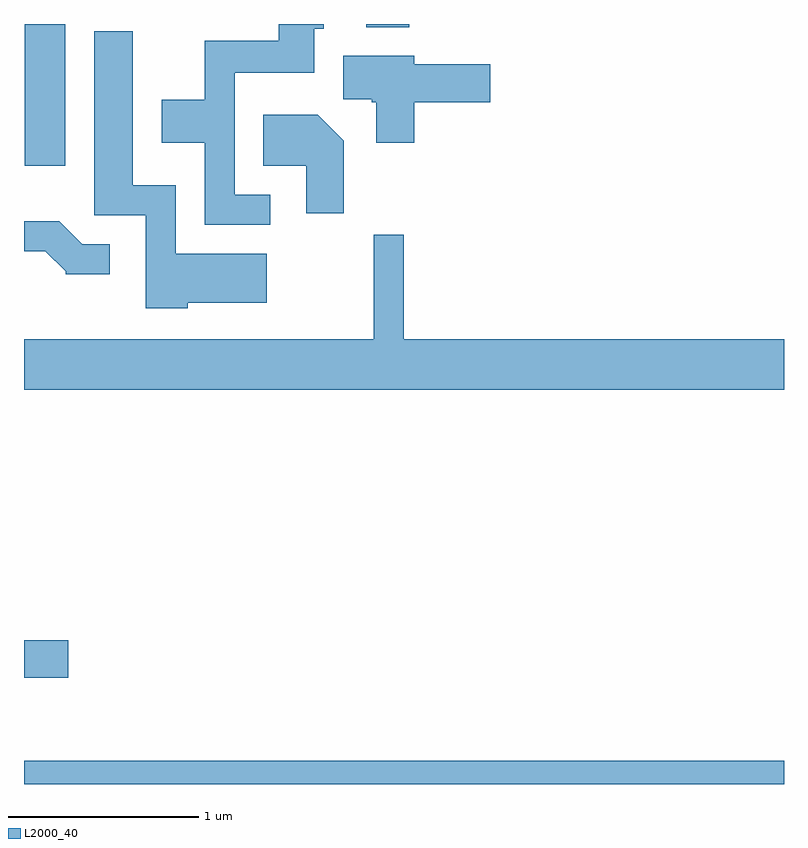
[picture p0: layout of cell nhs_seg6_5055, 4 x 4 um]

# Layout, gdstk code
import gdstk
lib = gdstk.Library(unit=1e-6, precision=1e-09)
def R(c, l, rs):  # rectangles x0, y0, x1, y1
    for r in rs: c.add(gdstk.rectangle(r[:2], r[2:], *l))
def P(c, l, *ps):  # polygons
    for p in ps: c.add(gdstk.Polygon(p, *l))
L2000_40 = (2000, 40)

nhs_seg6_5055 = lib.new_cell('nhs_seg6_5055')
R(nhs_seg6_5055, L2000_40, [(339.611,1570.162,343.611,1570.284), (339.611,1570.721,339.844,1570.919), (339.616,1573.416,339.829,1574.162), (341.411,1574.146,341.639,1574.162)])
P(nhs_seg6_5055, L2000_40, [(340.908,1573.264),(340.719,1573.264),(340.719,1573.906),(341.139,1573.906),(341.139,1574.136),(341.188,1574.136),(341.188,1574.162),(340.951,1574.162),(340.951,1574.074),(340.561,1574.074),(340.561,1573.764),(340.336,1573.764),(340.336,1573.536),(340.561,1573.536),(340.561,1573.106),(340.908,1573.106)],
  [(340.474,1572.696),(340.889,1572.696),(340.889,1572.954),(340.409,1572.954),(340.409,1573.314),(340.184,1573.314),(340.184,1574.124),(339.981,1574.124),(339.981,1573.156),(340.251,1573.156),(340.251,1572.666),(340.474,1572.666)],
  [(341.664,1573.751),(342.064,1573.751),(342.064,1573.949),(341.664,1573.949),(341.664,1573.994),(341.291,1573.994),(341.291,1573.766),(341.44,1573.766),(341.44,1573.751),(341.466,1573.751),(341.466,1573.536),(341.664,1573.536)],
  [(341.294,1573.547),(341.157,1573.684),(340.871,1573.684),(340.871,1573.416),(341.096,1573.416),(341.096,1573.166),(341.294,1573.166)],
  [(340.063,1573.004),(339.917,1573.004),(339.797,1573.124),(339.611,1573.124),(339.611,1572.966),(339.724,1572.966),(339.83,1572.86),(339.83,1572.846),(340.063,1572.846)],
  [(343.611,1572.504),(341.609,1572.504),(341.609,1573.053),(341.451,1573.053),(341.451,1572.504),(339.611,1572.504),(339.611,1572.236),(343.611,1572.236)])

lib.write_gds('nhs_seg6_5055.gds')
